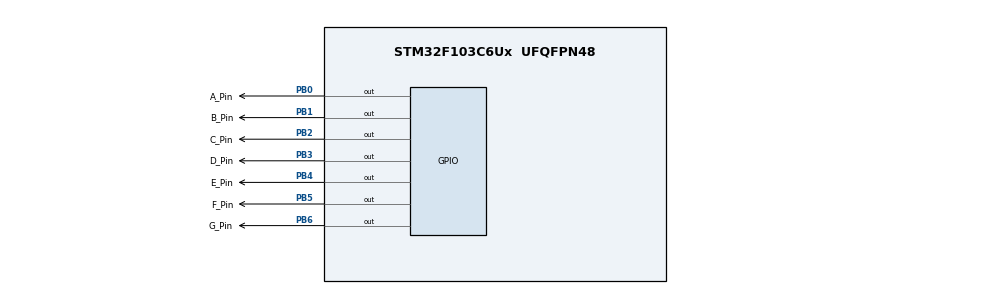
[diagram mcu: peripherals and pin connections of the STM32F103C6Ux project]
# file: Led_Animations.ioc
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Mcu.Family=STM32F1
Mcu.Name=STM32F103C6Ux
Mcu.Package=UFQFPN48
NVIC.PriorityGroup=NVIC_PRIORITYGROUP_4
PB0.GPIO_Label=A_Pin
PB0.Signal=GPIO_Output
PB1.GPIO_Label=B_Pin
PB1.Signal=GPIO_Output
PB2.GPIO_Label=C_Pin
PB2.Signal=GPIO_Output
PB3.GPIO_Label=D_Pin
PB3.Signal=GPIO_Output
PB4.GPIO_Label=E_Pin
PB4.Signal=GPIO_Output
PB5.GPIO_Label=F_Pin
PB5.Signal=GPIO_Output
PB6.GPIO_Label=G_Pin
PB6.Signal=GPIO_Output
ProjectManager.HeapSize=0x200
ProjectManager.StackSize=0x400
ProjectManager.TargetToolchain=STM32CubeIDE
RCC.APB1Freq_Value=8000000
RCC.APB2Freq_Value=8000000
VP_SYS_VS_ND.Mode=No_Debug
board=custom

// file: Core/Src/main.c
/* USER CODE BEGIN Header */
/**
  ******************************************************************************
  * @file           : main.c
  * @brief          : Main program body - Exercise 4 (Lab 1)
  ******************************************************************************
  */
/* USER CODE END Header */
#include "main.h"

void SystemClock_Config(void);
static void MX_GPIO_Init(void);

/* USER CODE BEGIN 0 */
/* USER CODE BEGIN 0 */
void display7SEG(int num) {
    // Bảng mã Anode chung (0: Sáng, 1: Tắt)
    uint8_t seg_codes[10][7] = {
        {0, 0, 0, 0, 0, 0, 1}, // Số 0
        {1, 0, 0, 1, 1, 1, 1}, // Số 1
        {0, 0, 1, 0, 0, 1, 0}, // Số 2
        {0, 0, 0, 0, 1, 1, 0}, // Số 3
        {1, 0, 0, 1, 1, 0, 0}, // Số 4
        {0, 1, 0, 0, 1, 0, 0}, // Số 5
        {0, 1, 0, 0, 0, 0, 0}, // Số 6
        {0, 0, 0, 1, 1, 1, 1}, // Số 7
        {0, 0, 0, 0, 0, 0, 0}, // Số 8
        {0, 0, 0, 0, 1, 0, 0}  // Số 9
    };

    if (num < 0 || num > 9) return;

    // Sử dụng trực tiếp các Pin từ GPIO_PIN_0 đến GPIO_PIN_6
    HAL_GPIO_WritePin(GPIOB, A_Pin_Pin, seg_codes[num][0]); // a -> PB0
    HAL_GPIO_WritePin(GPIOB, B_Pin_Pin, seg_codes[num][1]); // b -> PB1
    HAL_GPIO_WritePin(GPIOB, C_Pin_Pin, seg_codes[num][2]); // c -> PB2
    HAL_GPIO_WritePin(GPIOB, D_Pin_Pin, seg_codes[num][3]); // d -> PB3
    HAL_GPIO_WritePin(GPIOB, E_Pin_Pin, seg_codes[num][4]); // e -> PB4
    HAL_GPIO_WritePin(GPIOB,F_Pin_Pin, seg_codes[num][5]); // f -> PB5
    HAL_GPIO_WritePin(GPIOB, G_Pin_Pin, seg_codes[num][6]); // g -> PB6
}
/* USER CODE END 0 */

int main(void)
{

  /* MCU Configuration--------------------------------------------------------*/

  /* Reset of all peripherals, Initializes the Flash interface and the Systick. */
  HAL_Init();

  /* Configure the system clock */
  SystemClock_Config();

  /* Initialize all configured peripherals */
  MX_GPIO_Init();
  /* USER CODE BEGIN 2 */
  int counter = 0;
  /* USER CODE END 2 */

  /* Infinite loop */
  /* USER CODE BEGIN WHILE */
  while (1)
  {
      if (counter >= 10) {
          counter = 0;
      }

      display7SEG(counter++);
      HAL_Delay(1000); // �?ổi số sau mỗi 1 giây[cite: 2]

    /* USER CODE END WHILE */

  }
}

void SystemClock_Config(void)
{
  RCC_OscInitTypeDef RCC_OscInitStruct = {0};
  RCC_ClkInitTypeDef RCC_ClkInitStruct = {0};

  /** Initializes the RCC Oscillators according to the specified parameters
  * in the RCC_OscInitTypeDef structure.
  */
  RCC_OscInitStruct.OscillatorType = RCC_OSCILLATORTYPE_HSI;
  RCC_OscInitStruct.HSIState = RCC_HSI_ON;
  RCC_OscInitStruct.HSICalibrationValue = RCC_HSICALIBRATION_DEFAULT;
  RCC_OscInitStruct.PLL.PLLState = RCC_PLL_NONE;
  if (HAL_RCC_OscConfig(&RCC_OscInitStruct) != HAL_OK)
  {
    Error_Handler();
  }
  /** Initializes the CPU, AHB and APB buses clocks
  */
  RCC_ClkInitStruct.ClockType = RCC_CLOCKTYPE_HCLK|RCC_CLOCKTYPE_SYSCLK
                              |RCC_CLOCKTYPE_PCLK1|RCC_CLOCKTYPE_PCLK2;
  RCC_ClkInitStruct.SYSCLKSource = RCC_SYSCLKSOURCE_HSI;
  RCC_ClkInitStruct.AHBCLKDivider = RCC_SYSCLK_DIV1;
  RCC_ClkInitStruct.APB1CLKDivider = RCC_HCLK_DIV1;
  RCC_ClkInitStruct.APB2CLKDivider = RCC_HCLK_DIV1;

  if (HAL_RCC_ClockConfig(&RCC_ClkInitStruct, FLASH_LATENCY_0) != HAL_OK)
  {
    Error_Handler();
  }
}

static void MX_GPIO_Init(void)
{
  GPIO_InitTypeDef GPIO_InitStruct = {0};

  /* GPIO Ports Clock Enable */
  __HAL_RCC_GPIOB_CLK_ENABLE();

  /*Configure GPIO pin Output Level */
  HAL_GPIO_WritePin(GPIOB, A_Pin_Pin|B_Pin_Pin|C_Pin_Pin|D_Pin_Pin
                          |E_Pin_Pin|F_Pin_Pin|G_Pin_Pin, GPIO_PIN_RESET);

  /*Configure GPIO pins : A_Pin_Pin B_Pin_Pin C_Pin_Pin D_Pin_Pin
                           E_Pin_Pin F_Pin_Pin G_Pin_Pin */
  GPIO_InitStruct.Pin = A_Pin_Pin|B_Pin_Pin|C_Pin_Pin|D_Pin_Pin
                          |E_Pin_Pin|F_Pin_Pin|G_Pin_Pin;
  GPIO_InitStruct.Mode = GPIO_MODE_OUTPUT_PP;
  GPIO_InitStruct.Pull = GPIO_NOPULL;
  GPIO_InitStruct.Speed = GPIO_SPEED_FREQ_LOW;
  HAL_GPIO_Init(GPIOB, &GPIO_InitStruct);

}

void Error_Handler(void)
{
  __disable_irq();
  while (1)
  {
  }
}

/************************ (C) COPYRIGHT STMicroelectronics *****END OF FILE****/
